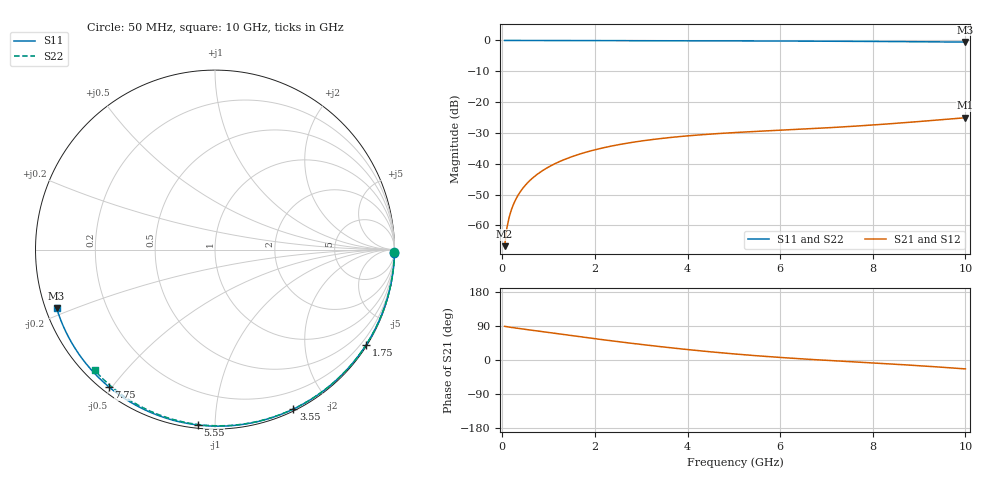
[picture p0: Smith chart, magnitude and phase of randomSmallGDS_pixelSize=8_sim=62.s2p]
! freq	dB(S11)	phase(S11)	dB(S12)	phase(S12)
!  dB(S21)	phase(S21)	dB(S22)	phase(S22)
!S-par simulation data
#  GHz  S  DB  R 50
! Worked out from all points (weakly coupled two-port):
!   200 points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, 50 MHz to 10 GHz, reference 50 ohm
!   highest |S21| = -25.07 dB at 10 GHz (marker M1); lowest = -66.7 dB at 50 MHz (marker M2)
!   lowest |S11| = -0.5 dB at 10 GHz (marker M3), VSWR 32.82, Z = 1.57 - j8.95 ohm
!   |S11| at or under -10 dB: nowhere
!   |S22| runs from -0.5 to 0.0 dB; largest |S21 - S12| = 0
!   S11 on the Smith chart (normalised r, x): 50 MHz: open; 1.75 GHz: 0.03, -3.44; 3.55 GHz: 0.02, -1.61; 5.55 GHz: 0.02, -0.91; 7.75 GHz: 0.02, -0.49; 10 GHz: 0.03, -0.18
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0.05  -0.00 -0.9  -66.72 88.9  -66.72 88.9  -0.00 -0.8
0.1  -0.00 -1.9  -60.72 87.8  -60.72 87.8  -0.00 -1.6
0.15  -0.00 -2.8  -57.23 86.8  -57.23 86.8  -0.00 -2.4
0.2  -0.00 -3.8  -54.76 85.9  -54.76 85.9  -0.00 -3.2
0.25  -0.00 -4.7  -52.85 85.0  -52.85 85.0  -0.00 -4.0
0.35  -0.00 -6.6  -49.97 83.3  -49.97 83.3  -0.00 -5.6
0.5  -0.01 -9.4  -46.92 80.8  -46.92 80.8  -0.01 -7.9
0.7  -0.01 -13.1  -44.05 77.5  -44.05 77.5  -0.01 -11.1
1  -0.02 -18.7  -41.04 72.5  -41.04 72.5  -0.02 -15.8
1.35  -0.03 -25.1  -38.56 66.8  -38.56 66.8  -0.03 -21.2
1.75  -0.04 -32.4  -36.49 60.2  -36.49 60.2  -0.04 -27.4
2.5  -0.06 -45.8  -33.84 48.5  -33.84 48.5  -0.05 -38.7
3.4  -0.08 -61.3  -31.84 35.4  -31.84 35.4  -0.07 -52.0
3.55  -0.09 -63.8  -31.59 33.4  -31.59 33.4  -0.07 -54.1
4.3  -0.11 -76.1  -30.58 23.9  -30.58 23.9  -0.09 -64.7
5.05  -0.14 -88.0  -29.85 15.6  -29.85 15.6  -0.12 -74.9
5.55  -0.16 -95.6  -29.44 10.7  -29.44 10.7  -0.14 -81.5
6.7  -0.22 -112.7  -28.59 1.3  -28.59 1.3  -0.19 -96.2
7.75  -0.30 -127.7  -27.67 -6.0  -27.67 -6.0  -0.25 -108.9
8.35  -0.35 -136.2  -27.04 -10.2  -27.04 -10.2  -0.30 -116.0
9.2  -0.43 -148.2  -26.06 -16.7  -26.06 -16.7  -0.37 -125.8
10  -0.53 -159.7  -25.07 -23.5  -25.07 -23.5  -0.45 -134.9
